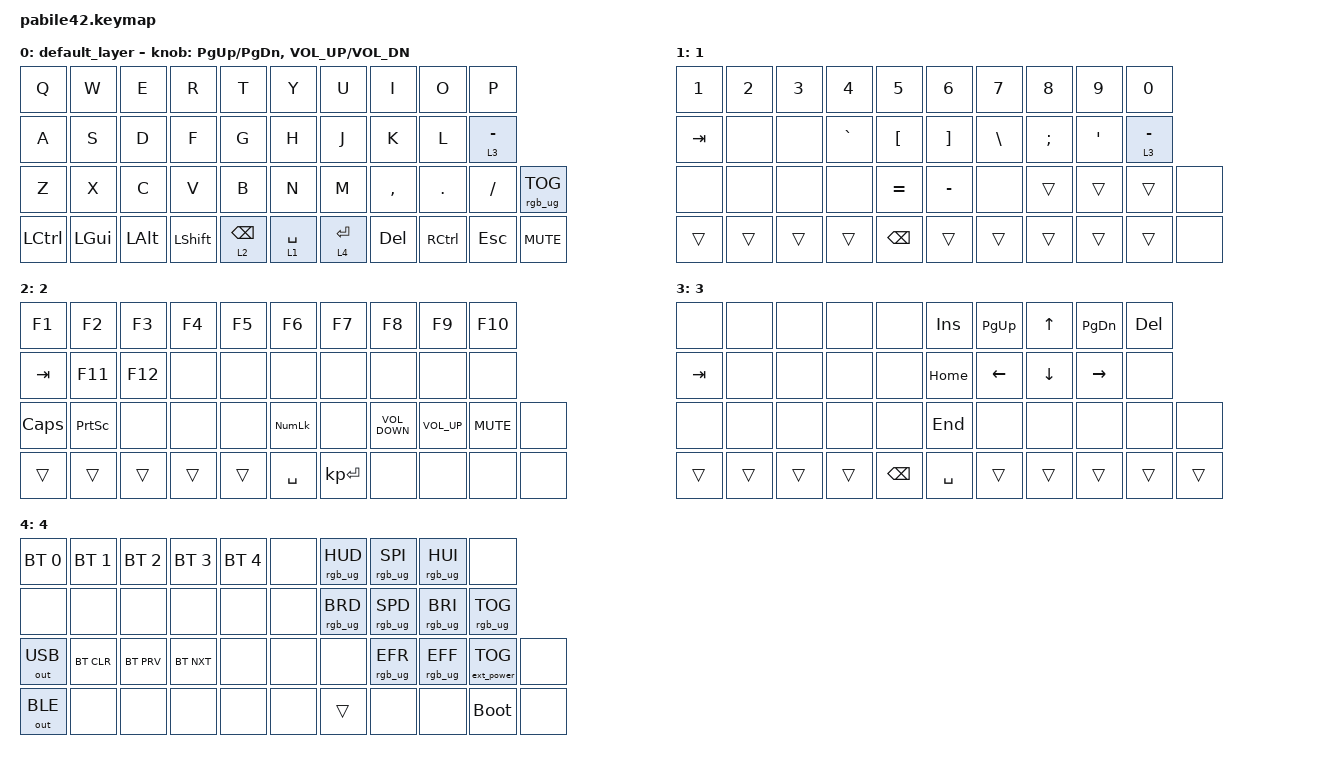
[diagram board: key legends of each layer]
/*
 * Copyright (c) 2020 The ZMK Contributors
 *
 * SPDX-License-Identifier: MIT
 */

#include <behaviors.dtsi>
#include <dt-bindings/zmk/keys.h>
#include <dt-bindings/zmk/bt.h>
#include <dt-bindings/zmk/outputs.h>
#include <dt-bindings/zmk/rgb.h>
#include <dt-bindings/zmk/ext_power.h>

/ {
	keymap {
		compatible = "zmk,keymap";

		default_layer {
			// --------------------------------------------------------------------------
			// |  Q   |  W   |  E   |  R   |  T   |   Y   |  U    |  I   |  O   |   P   | 
			// |  A   |  S   |  D   |  F   |  G   |   H   |  J    |  K   |  L   |   -   | 
			// |  Z   |  X   |  C   |  V   |  B   |   N   |  M    |  ,   |  .   |   /   |
			// | LCTL | LGUI | LALT | LSHFT| BSPC | SPACE |  ENT  | DEL  | RCTL | ESC   |

            // first is top. second is bottom
            sensor-bindings = <&inc_dec_kp PAGE_UP PAGE_DOWN &inc_dec_kp C_VOL_UP C_VOL_DN>;

			bindings = <
				&kp Q     &kp W    &kp E    &kp R     &kp T      &kp Y       &kp U       &kp I     &kp O     &kp P
				&kp A     &kp S    &kp D    &kp F     &kp G      &kp H       &kp J       &kp K     &kp L     &lt 3 MINUS
				&kp Z     &kp X    &kp C    &kp V     &kp B      &kp N       &kp M       &kp COMMA &kp DOT   &kp FSLH       &rgb_ug RGB_TOG
				&kp LCTRL &kp LGUI &kp LALT &kp LSHFT &lt 2 BSPC &lt 1 SPACE &lt 4 ENTER &kp DEL   &kp RCTRL &kp ESC        &kp C_MUTE
			>;
		};
		1 {
			bindings = <
				&kp N1   &kp N2    &kp N3   &kp N4     &kp N5     &kp N6     &kp N7       &kp N8    &kp N9   &kp N0
				&kp TAB  &none     &none    &kp GRAVE  &kp LBKT   &kp RBKT   &kp BSLH     &kp SEMI  &kp SQT  &lt 3 MINUS
				&none    &none     &none    &none      &kp EQUAL  &kp MINUS  &none        &trans    &trans   &trans       &none
				&trans   &trans    &trans   &trans     &kp BSPC   &trans     &trans       &trans    &trans   &trans       &none
			>;
		};
		2 {
			bindings = <
				&kp F1   &kp F2    &kp F3   &kp F4     &kp F5     &kp F6          &kp F7       &kp F8            &kp F9          &kp F10
				&kp TAB  &kp F11   &kp F12  &none      &none      &none           &none        &none             &none           &none
				&kp CAPS &kp PSCRN &none    &none      &none      &kp KP_NUMLOCK  &none        &kp C_VOLUME_DOWN &kp C_VOLUME_UP &kp C_MUTE &none
				&trans   &trans    &trans   &trans     &trans     &kp SPACE       &kp KP_ENTER &none             &none           &none   &none
			>;
		};
		3 {
			bindings = <
				&none         &none       &none       &none       &none     &kp INS   &kp PAGE_UP  &kp UP     &kp PAGE_DOWN      &kp DEL
				&kp TAB       &none       &none       &none       &none     &kp HOME  &kp LEFT     &kp DOWN   &kp RIGHT          &none
				&none         &none       &none       &none       &none     &kp END   &none        &none      &none              &none    &none
				&trans        &trans      &trans      &trans      &kp BSPC  &kp SPACE &trans       &trans     &trans             &trans   &trans
			>;
		};
		4 {
			bindings = <
				&bt BT_SEL 0  &bt BT_SEL 1 &bt BT_SEL 2 &bt BT_SEL 3 &bt BT_SEL 4 &none    &rgb_ug RGB_HUD  &rgb_ug RGB_SPI  &rgb_ug RGB_HUI  &none
				&none         &none        &none        &none        &none        &none    &rgb_ug RGB_BRD  &rgb_ug RGB_SPD  &rgb_ug RGB_BRI  &rgb_ug RGB_TOG
				&out OUT_USB  &bt BT_CLR   &bt BT_PRV   &bt BT_NXT   &none        &none    &none            &rgb_ug RGB_EFR  &rgb_ug RGB_EFF  &ext_power EP_TOG &none
				&out OUT_BLE  &none        &none        &none        &none        &none    &trans           &none            &none            &bootloader       &none
			>;
		};
	};
};
